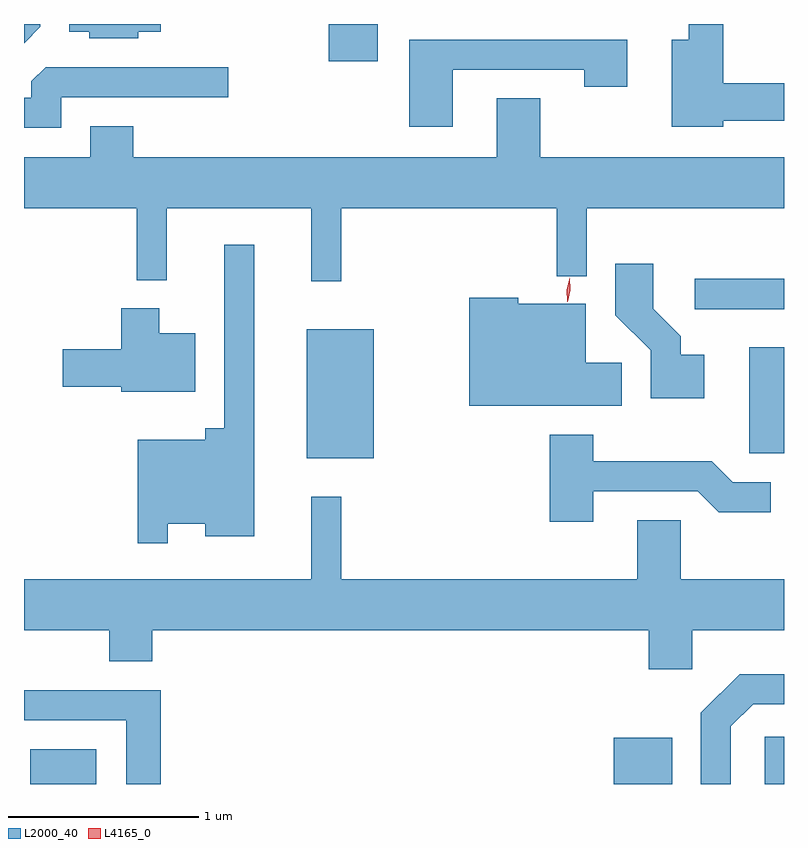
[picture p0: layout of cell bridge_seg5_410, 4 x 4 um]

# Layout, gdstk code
import gdstk
lib = gdstk.Library(unit=1e-6, precision=1e-09)
def R(c, l, rs):  # rectangles x0, y0, x1, y1
    for r in rs: c.add(gdstk.rectangle(r[:2], r[2:], *l))
def P(c, l, *ps):  # polygons
    for p in ps: c.add(gdstk.Polygon(p, *l))
L2000_40 = (2000, 40)
L4165_0 = (4165, 0)

bridge_seg5_410 = lib.new_cell('bridge_seg5_410')
R(bridge_seg5_410, L2000_40, [(218.136,1513.706,218.484,1513.889), (221.206,1513.706,221.514,1513.949), (222.001,1513.706,222.103,1513.954), (219.591,1515.421,219.944,1516.099), (221.921,1515.446,222.103,1516.004), (221.633,1516.206,222.103,1516.364), (219.706,1517.511,219.964,1517.706)])
P(bridge_seg5_410, L2000_40, [(218.704,1517.666),(218.824,1517.666),(218.824,1517.706),(218.341,1517.706),(218.341,1517.666),(218.446,1517.666),(218.446,1517.631),(218.704,1517.631)],
  [(218.189,1517.692),(218.189,1517.706),(218.103,1517.706),(218.103,1517.605)],
  [(221.784,1517.196),(222.103,1517.196),(222.103,1517.394),(221.784,1517.394),(221.784,1517.706),(221.601,1517.706),(221.601,1517.624),(221.511,1517.624),(221.511,1517.166),(221.784,1517.166)],
  [(220.359,1517.466),(221.051,1517.466),(221.051,1517.376),(221.279,1517.376),(221.279,1517.624),(220.131,1517.624),(220.131,1517.166),(220.359,1517.166)],
  [(218.299,1517.321),(219.178,1517.321),(219.178,1517.479),(218.217,1517.479),(218.141,1517.404),(218.141,1517.319),(218.103,1517.319),(218.103,1517.161),(218.299,1517.161)],
  [(219.774,1516.736),(220.906,1516.736),(220.906,1516.378),(221.064,1516.378),(221.064,1516.736),(222.103,1516.736),(222.103,1517.004),(220.819,1517.004),(220.819,1517.314),(220.591,1517.314),(220.591,1517.004),(218.679,1517.004),(218.679,1517.169),(218.451,1517.169),(218.451,1517.004),(218.103,1517.004),(218.103,1516.736),(218.696,1516.736),(218.696,1516.358),(218.854,1516.358),(218.854,1516.736),(219.616,1516.736),(219.616,1516.353),(219.774,1516.353)],
  [(218.859,1515.076),(219.056,1515.076),(219.056,1515.011),(219.314,1515.011),(219.314,1516.543),(219.156,1516.543),(219.156,1515.579),(219.056,1515.579),(219.056,1515.519),(218.701,1515.519),(218.701,1514.973),(218.859,1514.973)],
  [(221.684,1515.964),(221.559,1515.964),(221.559,1516.062),(221.414,1516.207),(221.414,1516.444),(221.216,1516.444),(221.216,1516.174),(221.401,1515.989),(221.401,1515.736),(221.684,1515.736)],
  [(221.249,1515.924),(221.059,1515.924),(221.059,1516.234),(220.704,1516.234),(220.704,1516.264),(220.446,1516.264),(220.446,1515.696),(221.249,1515.696)],
  [(219.004,1516.079),(218.814,1516.079),(218.814,1516.209),(218.616,1516.209),(218.616,1515.994),(218.306,1515.994),(218.306,1515.796),(218.616,1515.796),(218.616,1515.771),(219.004,1515.771)],
  [(221.099,1515.246),(221.649,1515.246),(221.759,1515.136),(222.033,1515.136),(222.033,1515.294),(221.832,1515.294),(221.722,1515.404),(221.099,1515.404),(221.099,1515.544),(220.871,1515.544),(220.871,1515.086),(221.099,1515.086)],
  [(221.619,1514.516),(222.103,1514.516),(222.103,1514.784),(221.559,1514.784),(221.559,1515.094),(221.331,1515.094),(221.331,1514.784),(219.774,1514.784),(219.774,1515.218),(219.616,1515.218),(219.616,1514.784),(218.103,1514.784),(218.103,1514.516),(218.551,1514.516),(218.551,1514.351),(218.779,1514.351),(218.779,1514.516),(221.391,1514.516),(221.391,1514.311),(221.619,1514.311)],
  [(221.824,1514.009),(221.942,1514.126),(222.103,1514.126),(222.103,1514.284),(221.869,1514.284),(221.666,1514.082),(221.666,1513.706),(221.824,1513.706)],
  [(218.824,1514.199),(218.103,1514.199),(218.103,1514.041),(218.641,1514.041),(218.641,1513.706),(218.824,1513.706)])
P(bridge_seg5_410, L4165_0, [(220.963,1516.243),(220.963,1516.243),(220.96,1516.308),(220.975,1516.371),(220.976,1516.371),(220.976,1516.371),(220.979,1516.306),(220.964,1516.243)])

lib.write_gds('bridge_seg5_410.gds')
